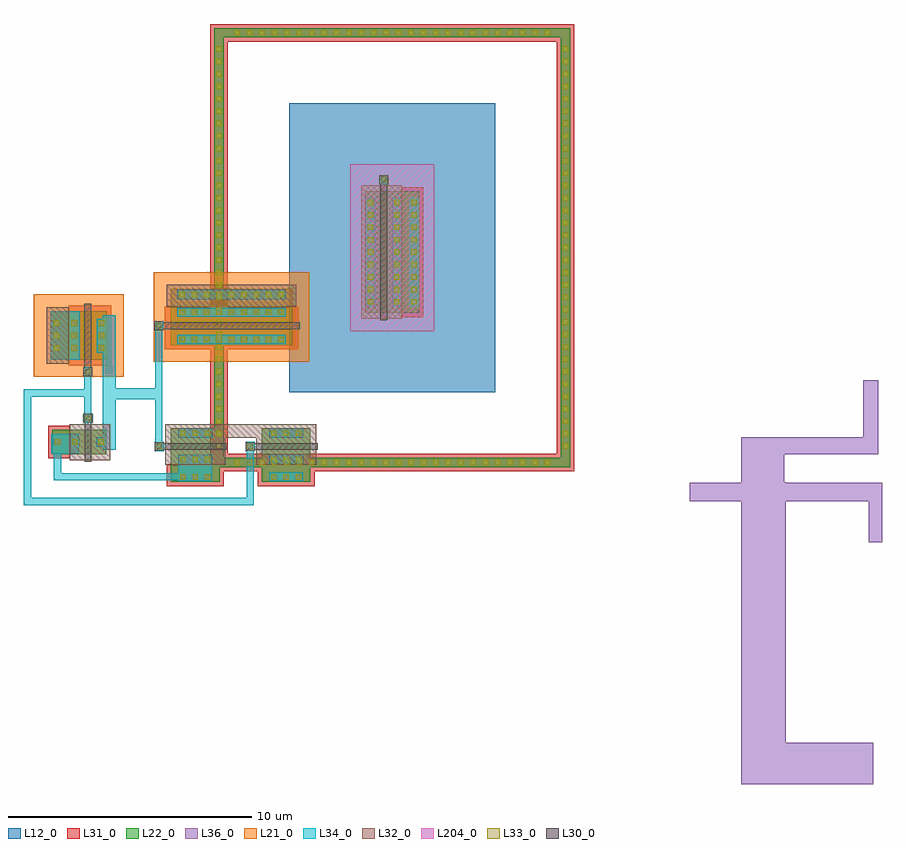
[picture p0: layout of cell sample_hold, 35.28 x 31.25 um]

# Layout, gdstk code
from math import pi, radians
import gdstk
lib = gdstk.Library(unit=1e-6, precision=5e-09)
def R(c, l, rs):  # rectangles x0, y0, x1, y1
    for r in rs: c.add(gdstk.rectangle(r[:2], r[2:], *l))
def A(c, l, x, y, w, h, nx, ny, dx, dy):  # array of equal rectangles
    R(c, l, [(x+i*dx, y+j*dy, x+i*dx+w, y+j*dy+h) for i in range(nx) for j in range(ny)])
def P(c, l, *ps):  # polygons
    for p in ps: c.add(gdstk.Polygon(p, *l))
L12_0 = (12, 0)
L21_0 = (21, 0)
L22_0 = (22, 0)
L30_0 = (30, 0)
L31_0 = (31, 0)
L32_0 = (32, 0)
L33_0 = (33, 0)
L34_0 = (34, 0)
L36_0 = (36, 0)
L204_0 = (204, 0)

pfet = lib.new_cell('pfet')
R(pfet, L21_0, [(-1.15,-0.69,2.54,2.69)])
R(pfet, L22_0, [(-0.46,0,0,2), (0,0,0.66,2), (0.66,0,1.12,2), (1.12,0,1.85,2)])
R(pfet, L30_0, [(0.14,-0.68,0.52,-0.3), (0.19,-0.3,0.47,2.3)])
R(pfet, L31_0, [(-0.63,-0.24,1.12,2.24)])
R(pfet, L32_0, [(1.12,-0.17,2.02,2.17)])
A(pfet, L33_0, -0.34, 0.38, 0.22, 0.22, 1, 3, 0, 0.51)
A(pfet, L33_0, 0.78, 0.38, 0.22, 0.22, 1, 3, 0, 0.51)
A(pfet, L33_0, 1.51, 0.38, 0.22, 0.22, 1, 3, 0, 0.51)
R(pfet, L33_0, [(0.22,-0.6,0.44,-0.38)])
R(pfet, L34_0, [(0.14,-0.68,0.52,-0.3), (-0.42,0.3,-0.04,1.7), (0.7,0.3,1.08,1.7), (1.43,0.3,1.81,1.7)])

nfet = lib.new_cell('nfet')
R(nfet, L22_0, [(-0.42,0,0,1), (0,0,0.66,1), (0.66,0,1.08,1), (1.08,0,1.79,1)])
R(nfet, L30_0, [(0.19,-0.3,0.47,1.3), (0.15,1.3,0.51,1.66)])
R(nfet, L31_0, [(1.08,-0.17,1.96,1.17)])
R(nfet, L32_0, [(-0.59,-0.24,1.08,1.24)])
R(nfet, L33_0, [(-0.32,0.39,-0.1,0.61), (0.76,0.39,0.98,0.61), (1.47,0.39,1.69,0.61), (0.22,1.37,0.44,1.59)])
R(nfet, L34_0, [(-0.4,0.31,-0.02,0.69), (0.68,0.31,1.06,0.69), (1.39,0.31,1.77,0.69), (0.14,1.29,0.52,1.67)])

inv_sh = lib.new_cell('inv_sh')
R(inv_sh, L34_0, [(0.29,-1.01,1.42,-0.18), (-1.22,-0.84,-0.68,4.7), (0.26,2.86,1.45,4.86)])
inv_sh.add(gdstk.FlexPath([(-0.07,2.37),(-0.07,0.43),(-0.07,0.43)], 0.3, ends="flush", simple_path=True, layer=34, datatype=0))  # L34_0
inv_sh.add(gdstk.Reference(pfet, (-0.4,2.86)))
inv_sh.add(gdstk.Reference(nfet, (-0.41,-1.02)))
inv_sh.add(gdstk.Label('vdd', (0.855,3.64), layer=34, texttype=10))
inv_sh.add(gdstk.Label('vss', (0.86,-0.56), layer=34, texttype=10))
inv_sh.add(gdstk.Label('vo', (-0.99,1.28), layer=34, texttype=10))
inv_sh.add(gdstk.Label('vi', (-0.07,1.39), layer=34, texttype=10))

pfet_2 = lib.new_cell('pfet$2')
R(pfet_2, L21_0, [(-1.15,-0.69,2.54,5.69)])
R(pfet_2, L22_0, [(-0.46,0,0,5), (0,0,0.66,5), (0.66,0,1.12,5), (1.12,0,1.85,5)])
R(pfet_2, L30_0, [(0.19,-0.3,0.47,5.3), (0.14,5.3,0.52,5.68)])
R(pfet_2, L31_0, [(-0.63,-0.24,1.12,5.24)])
R(pfet_2, L32_0, [(1.12,-0.17,2.02,5.17)])
A(pfet_2, L33_0, -0.34, 0.35, 0.22, 0.22, 1, 9, 0, 0.51)
A(pfet_2, L33_0, 0.78, 0.35, 0.22, 0.22, 1, 9, 0, 0.51)
A(pfet_2, L33_0, 1.51, 0.35, 0.22, 0.22, 1, 9, 0, 0.51)
R(pfet_2, L33_0, [(0.22,5.38,0.44,5.6)])
R(pfet_2, L34_0, [(-0.42,0.27,-0.04,4.73), (0.7,0.27,1.08,4.73), (1.43,0.27,1.81,4.73), (0.14,5.3,0.52,5.68)])

nfet_3 = lib.new_cell('nfet$3')
R(nfet_3, L22_0, [(-0.42,0,0,2), (0,0,0.66,2), (0.66,0,1.08,2), (1.08,0,1.79,2)])
R(nfet_3, L30_0, [(0.15,-0.66,0.51,-0.3), (0.19,-0.3,0.47,2.3)])
R(nfet_3, L31_0, [(1.08,-0.17,1.96,2.17)])
R(nfet_3, L32_0, [(-0.59,-0.24,1.08,2.24)])
A(nfet_3, L33_0, -0.32, 0.38, 0.22, 0.22, 1, 3, 0, 0.51)
A(nfet_3, L33_0, 0.76, 0.38, 0.22, 0.22, 1, 3, 0, 0.51)
A(nfet_3, L33_0, 1.47, 0.38, 0.22, 0.22, 1, 3, 0, 0.51)
R(nfet_3, L33_0, [(0.22,-0.59,0.44,-0.37)])
R(nfet_3, L34_0, [(0.14,-0.67,0.52,-0.29), (-0.4,0.3,-0.02,1.7), (0.68,0.3,1.06,1.7), (1.39,0.3,1.77,1.7)])

nfet_4 = lib.new_cell('nfet$4')
R(nfet_4, L12_0, [(-3.55,-3.26,4.92,8.63)])
R(nfet_4, L22_0, [(-0.42,0,0,5), (0,0,0.66,5), (0.66,0,1.08,5), (1.08,0,1.79,5)])
P(nfet_4, L22_0, [(-6.63,-6.34),(-6.63,11.33),(-6.25,11.33),(-6.25,-5.96),(7.62,-5.96),(7.62,11.33),(-6.63,11.33),(-6.63,11.71),(8,11.71),(8,-6.34)])
R(nfet_4, L30_0, [(0.19,-0.3,0.47,5.3), (0.15,5.3,0.51,5.66)])
R(nfet_4, L31_0, [(1.08,-0.17,1.96,5.17)])
P(nfet_4, L31_0, [(-6.8,-6.51),(-6.8,11.16),(-6.08,11.16),(-6.08,-5.79),(7.45,-5.79),(7.45,11.16),(-6.8,11.16),(-6.8,11.88),(8.17,11.88),(8.17,-6.51)])
R(nfet_4, L32_0, [(-0.59,-0.24,1.08,5.24)])
A(nfet_4, L33_0, -5.8, -6.26, 0.22, 0.22, 26, 2, 0.51, 17.67)
A(nfet_4, L33_0, -6.55, -5.585, 0.22, 0.22, 1, 33, 0, 0.51)
A(nfet_4, L33_0, 7.7, -5.585, 0.22, 0.22, 1, 33, 0, 0.51)
A(nfet_4, L33_0, -0.32, 0.35, 0.22, 0.22, 1, 9, 0, 0.51)
A(nfet_4, L33_0, 0.76, 0.35, 0.22, 0.22, 1, 9, 0, 0.51)
A(nfet_4, L33_0, 1.47, 0.35, 0.22, 0.22, 1, 9, 0, 0.51)
R(nfet_4, L33_0, [(0.22,5.37,0.44,5.59)])
R(nfet_4, L34_0, [(-0.4,0.27,-0.02,4.73), (0.68,0.27,1.06,4.73), (1.39,0.27,1.77,4.73), (0.14,5.29,0.52,5.67)])
R(nfet_4, L204_0, [(-1.04,-0.75,2.41,6.12)])

sample_hold = lib.new_cell('sample_hold')
R(sample_hold, L32_0, [(-21.95,9.13,-16.82,9.7)])
R(sample_hold, L34_0, [(-21.96,7.53,-20.56,8.24), (-25.07,10.73,-22.61,11.17)])
P(sample_hold, L36_0, [(6.43,4.85),(6.43,6.53),(-0.92,6.53),(-0.92,7.28),(6.98,7.28),(6.98,4.85)],
  [(1.2,6.53),(1.2,9.16),(6.21,9.16),(6.21,11.5),(6.83,11.5),(6.83,8.46),(2.97,8.46),(2.97,6.53)],
  [(1.2,-5.1),(1.2,7.3),(3.03,7.3),(3.03,-3.41),(6.62,-3.41),(6.62,-5.1)])
sample_hold.add(gdstk.FlexPath([(-22.76,13.74),(-22.76,8.78),(-22.74,8.78)], 0.3, ends="flush", simple_path=True, layer=34, datatype=0))  # L34_0
sample_hold.add(gdstk.FlexPath([(-26.92,8.96),(-26.92,7.53),(-21.77,7.53),(-21.77,7.53)], 0.3, ends="flush", simple_path=True, layer=34, datatype=0))  # L34_0
sample_hold.add(gdstk.FlexPath([(-25.68,10.98),(-28.15,10.98),(-28.15,6.51),(-19,6.51),(-19,8.78),(-19,8.78)], 0.3, ends="flush", simple_path=True, layer=34, datatype=0))  # L34_0
sample_hold.add(gdstk.Reference(inv_sh, (-25.75,9.48), rotation=pi, x_reflection=True))
sample_hold.add(gdstk.Reference(pfet_2, (-17.27,13.41), rotation=pi/2))
sample_hold.add(gdstk.Reference(nfet_3, (-22.26,9.11), rotation=3*pi/2))
sample_hold.add(gdstk.Reference(nfet_3, (-18.52,9.11), rotation=3*pi/2))
sample_hold.add(gdstk.Reference(nfet_4, (-13.84,14.27)))

lib.write_gds('sample_hold.gds')
